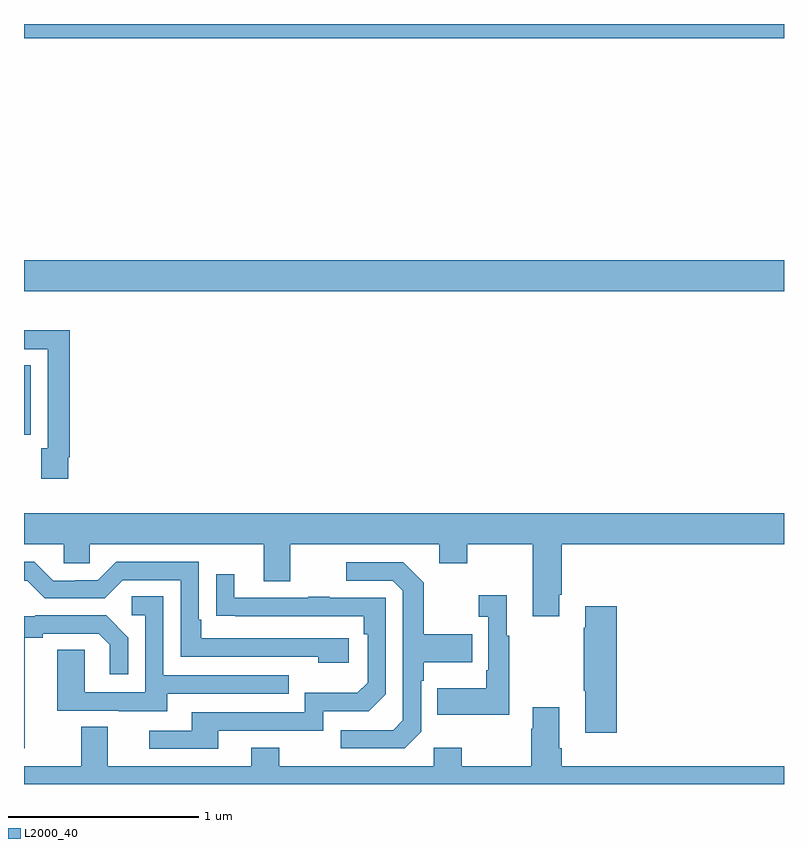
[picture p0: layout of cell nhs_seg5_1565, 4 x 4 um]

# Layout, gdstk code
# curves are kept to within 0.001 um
import gdstk
lib = gdstk.Library(unit=1e-6, precision=1e-09)
def R(c, l, rs):  # rectangles x0, y0, x1, y1
    for r in rs: c.add(gdstk.rectangle(r[:2], r[2:], *l))
def P(c, l, *ps):  # polygons
    for p in ps: c.add(gdstk.Polygon(p, *l))
L2000_40 = (2000, 40)

nhs_seg5_1565 = lib.new_cell('nhs_seg5_1565')
R(nhs_seg5_1565, L2000_40, [(205,890.636,205.036,891.002), (205,891.392,209,891.556), (205,892.724,209,892.799)])
P(nhs_seg5_1565, L2000_40, [(205.234,890.518),(205.241,890.518),(205.241,891.187),(205,891.187),(205,891.087),(205.125,891.087),(205.125,890.567),(205.091,890.567),(205.091,890.406),(205.234,890.406)],
  [(207.817,889.795),(207.83,889.795),(207.83,890.06),(209,890.06),(209,890.224),(205,890.224),(205,890.06),(205.209,890.06),(205.209,889.962),(205.347,889.962),(205.347,890.06),(206.261,890.06),(206.261,889.866),(206.401,889.866),(206.401,890.06),(207.185,890.06),(207.185,889.961),(207.333,889.961),(207.333,890.06),(207.677,890.06),(207.677,889.683),(207.817,889.683)],
  [(206.71,889.566),(205.933,889.566),(205.933,889.663),(205.92,889.663),(205.92,889.968),(205.485,889.968),(205.389,889.872),(205.271,889.872),(205.271,889.869),(205.155,889.869),(205.055,889.969),(205,889.969),(205,889.869),(205.017,889.869),(205.11,889.776),(205.425,889.776),(205.521,889.872),(205.824,889.872),(205.824,889.47),(206.549,889.47),(206.549,889.436),(206.71,889.436)],
  [(207.09,889.074),(207.09,889.343),(207.103,889.343),(207.103,889.439),(207.359,889.439),(207.359,889.587),(207.103,889.587),(207.103,889.859),(206.997,889.965),(206.697,889.965),(206.697,889.869),(206.94,889.869),(206.994,889.815),(206.994,889.134),(206.943,889.083),(206.667,889.083),(206.667,888.987),(207.003,888.987)],
  [(206.023,889.08),(206.574,889.08),(206.574,889.182),(206.814,889.182),(206.904,889.272),(206.904,889.779),(206.609,889.779),(206.609,889.784),(206.497,889.784),(206.497,889.779),(206.107,889.779),(206.107,889.903),(206.011,889.903),(206.011,889.684),(206.788,889.683),(206.788,889.586),(206.808,889.586),(206.808,889.332),(206.755,889.279),(206.478,889.279),(206.478,889.176),(205.883,889.176),(205.883,889.08),(205.659,889.08),(205.659,888.984),(206.023,888.984)],
  [(207.553,889.579),(207.541,889.579),(207.541,889.792),(207.393,889.792),(207.393,889.679),(207.444,889.679),(207.444,889.399),(207.432,889.399),(207.432,889.303),(207.175,889.303),(207.175,889.163),(207.553,889.163)],
  [(205.753,889.275),(206.393,889.275),(206.393,889.371),(205.734,889.371),(205.734,889.787),(205.566,889.787),(205.566,889.686),(205.638,889.686),(205.638,889.281),(205.32,889.281),(205.32,889.505),(205.175,889.505),(205.175,889.185),(205.499,889.185),(205.499,889.181),(205.753,889.181)],
  [(208.121,889.735),(207.953,889.735),(207.953,889.622),(207.946,889.622),(207.946,889.291),(207.953,889.291),(207.953,889.068),(208.121,889.068)],
  [(205.003,889.568),(205.099,889.568),(205.099,889.59),(205.394,889.59),(205.451,889.533),(205.451,889.377),(205.548,889.377),(205.548,889.57),(205.432,889.686),(205.06,889.686),(205.06,889.683),(205,889.683),(205,888.987),(205.003,888.987)],
  [(209,888.892),(207.83,888.892),(207.83,888.988),(207.817,888.988),(207.817,889.204),(207.677,889.204),(207.677,889.091),(207.67,889.091),(207.67,888.892),(207.303,888.892),(207.303,888.991),(207.156,888.991),(207.156,888.892),(206.343,888.892),(206.343,888.991),(206.195,888.991),(206.195,888.892),(205.441,888.892),(205.441,889.1),(205.301,889.1),(205.301,888.892),(205,888.892),(205,888.799),(209,888.799)])

lib.write_gds('nhs_seg5_1565.gds')
